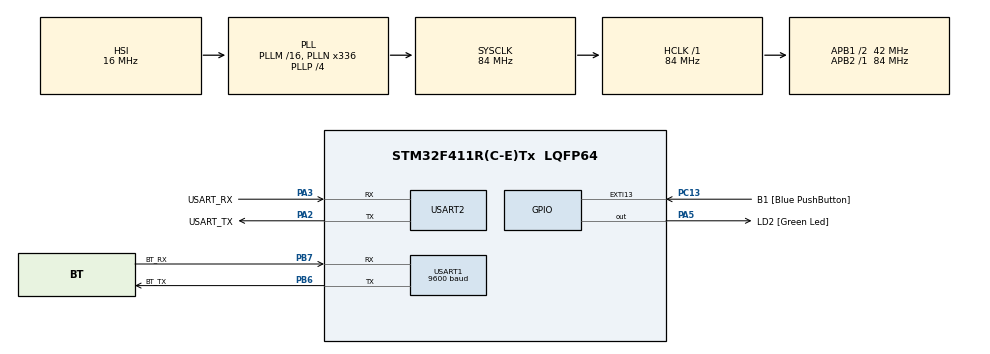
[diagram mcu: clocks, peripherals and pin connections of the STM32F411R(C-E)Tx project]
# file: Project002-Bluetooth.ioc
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Mcu.Family=STM32F4
Mcu.Name=STM32F411R(C-E)Tx
Mcu.Package=LQFP64
NVIC.EXTI15_10_IRQn=true\:0\:0\:false\:false\:true\:true\:true\:true
NVIC.PriorityGroup=NVIC_PRIORITYGROUP_0
NVIC.USART1_IRQn=true\:0\:0\:false\:false\:true\:true\:true\:true
NVIC.USART2_IRQn=true\:0\:0\:false\:false\:true\:true\:true\:true
PA13.GPIO_Label=TMS
PA13.Mode=Serial_Wire
PA13.Signal=SYS_JTMS-SWDIO
PA14.GPIO_Label=TCK
PA14.Mode=Serial_Wire
PA14.Signal=SYS_JTCK-SWCLK
PA2.GPIO_Label=USART_TX
PA2.Mode=Asynchronous
PA2.Signal=USART2_TX
PA3.GPIO_Label=USART_RX
PA3.Mode=Asynchronous
PA3.Signal=USART2_RX
PA5.GPIO_Label=LD2 [Green Led]
PA5.Signal=GPIO_Output
PB3.GPIO_Label=SWO
PB3.Signal=SYS_JTDO-SWO
PB6.GPIO_Label=BT_TX
PB6.Mode=Asynchronous
PB6.Signal=USART1_TX
PB7.GPIO_Label=BT_RX
PB7.Mode=Asynchronous
PB7.Signal=USART1_RX
PC13-ANTI_TAMP.GPIO_Label=B1 [Blue PushButton]
PC13-ANTI_TAMP.GPIO_ModeDefaultEXTI=GPIO_MODE_IT_FALLING
PC13-ANTI_TAMP.Signal=GPXTI13
PC14-OSC32_IN.Mode=LSE-External-Oscillator
PC14-OSC32_IN.Signal=RCC_OSC32_IN
PC15-OSC32_OUT.Mode=LSE-External-Oscillator
PC15-OSC32_OUT.Signal=RCC_OSC32_OUT
PH0\ -\ OSC_IN.Mode=HSE-External-Clock-Source
PH0\ -\ OSC_IN.Signal=RCC_OSC_IN
PH1\ -\ OSC_OUT.Mode=HSE-External-Clock-Source
PH1\ -\ OSC_OUT.Signal=RCC_OSC_OUT
ProjectManager.HeapSize=0x200
ProjectManager.StackSize=0x400
ProjectManager.TargetToolchain=STM32CubeIDE
RCC.48MHZClocksFreq_Value=84000000
RCC.AHBFreq_Value=84000000
RCC.APB1CLKDivider=RCC_HCLK_DIV2
RCC.APB1Freq_Value=42000000
RCC.APB1TimFreq_Value=84000000
RCC.APB2Freq_Value=84000000
RCC.APB2TimFreq_Value=84000000
RCC.CortexFreq_Value=84000000
RCC.FLatency-AdvancedSettings=FLASH_LATENCY_2
RCC.HCLKFreq_Value=84000000
RCC.HSE_VALUE=8000000
RCC.HSI_VALUE=16000000
RCC.PLLN=336
RCC.PLLP=RCC_PLLP_DIV4
RCC.SYSCLKFreq_VALUE=84000000
RCC.SYSCLKSource=RCC_SYSCLKSOURCE_PLLCLK
RCC.VCOOutputFreq_Value=336000000
USART1.BaudRate=9600
USART1.VirtualMode=VM_ASYNC
USART2.VirtualMode=VM_ASYNC
board=NUCLEO-F411RE

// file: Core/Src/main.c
/* USER CODE BEGIN Header */
/**
  ******************************************************************************
  * @file           : main.c
  * @brief          : Main program body
  ******************************************************************************
  * @attention
  *
  * Copyright (c) 2025 STMicroelectronics.
  * All rights reserved.
  *
  * This software is licensed under terms that can be found in the LICENSE file
  * in the root directory of this software component.
  * If no LICENSE file comes with this software, it is provided AS-IS.
  *
  ******************************************************************************
  */
/* USER CODE END Header */
#include "main.h"

/* USER CODE BEGIN Includes */
#include "string.h"
/* USER CODE END Includes */

UART_HandleTypeDef huart1;
UART_HandleTypeDef huart2;

void SystemClock_Config(void);
static void MX_GPIO_Init(void);
static void MX_USART2_UART_Init(void);
static void MX_USART1_UART_Init(void);

/* USER CODE BEGIN 0 */

#define BUF_SIZE 100
char buf1[BUF_SIZE], buf2[BUF_SIZE]; // DMA Buffer
char dum1, dum2;
int head1 = 0, head2 = 0, tail1 = 0, tail2 = 0, temp1 = 0, temp2 = 0, mode = 0; // mode 0: AT command, 1: regularly send AT+INQ and detect entered slave address
int sn; //slave number
char* slave_addr[5] = {"8E4591", "15DA51", "37826F", "A7EF18", "9B0C60"}; // slave address

void HAL_GPIO_EXTI_Callback(uint16_t GPIO_Pin)
{
  switch(GPIO_Pin) {
	  case GPIO_PIN_13:
		  if(mode) {
			  mode = 0;
		  }
		  else {
			  mode = 1;
		  }
		  break;
  }
}

void HAL_UART_RxCpltCallback(UART_HandleTypeDef *huart)
{
   if(huart == &huart1)
   {
      buf1[tail1++] = dum1;
      if(!mode) {
    	  HAL_UART_Transmit(&huart2, &dum1/*== buf1+t1-1*/, 1, 10);      // putty print
      }
      if(dum1 == '\r')
      {
         //CheckCMD(buf1);
    	  if(mode){
			  char comp_buf[BUF_SIZE];
			  if(tail1 > 15) {
				  sprintf(comp_buf, "%s\n\0", &buf1[tail1 - 7]);
				  //printf("%s", comp_buf);
				  //if(!strncmp(comp_buf, "9B0C60", 6)) {
				  if(!strncmp(comp_buf, slave_addr[sn], 6)) {
					  printf("I found it%d\r\n\r\n", temp2++);
				  }
			  }
    	  }

         tail1 = 0;
      }
      HAL_UART_Receive_IT(&huart1, &dum1, 1);         // interrupt chain
   }

   else if(huart == &huart2)
   {
      buf2[tail2++] = dum2;
      HAL_UART_Transmit(&huart2, &dum2, 1, 10); // terminal echo
      if(dum2 == '\r')  // CR : 0x0d
      {
         HAL_UART_Transmit(&huart2, "\n", 1, 10); // terminal echo

         buf2[tail2++] = '\n'; // == HAL_UART_Transmit(&huart1, "\n", 1, 10);
         HAL_UART_Transmit(&huart1, buf2, tail2, 10);   // AT Command
//         HAL_UART_Transmit(&huart1, "\n", 1, 10);
         tail2 = 0;
      }
      HAL_UART_Receive_IT(&huart2, &dum2, 1);
   }
}

/* USER CODE END 0 */

int main(void)
{

  /* MCU Configuration--------------------------------------------------------*/

  /* Reset of all peripherals, Initializes the Flash interface and the Systick. */
  HAL_Init();

  /* Configure the system clock */
  SystemClock_Config();

  /* Initialize all configured peripherals */
  MX_GPIO_Init();
  MX_USART2_UART_Init();
  MX_USART1_UART_Init();
  /* USER CODE BEGIN 2 */
  ProgramStart("Bluetooth Test - Start");
  printf("input slave:");
  scanf("%d", &sn);
  UART_Start_Receive_IT(&huart1, &dum1, 1);
  UART_Start_Receive_IT(&huart2, &dum2, 1);

  /* USER CODE END 2 */

  /* Infinite loop */
  /* USER CODE BEGIN WHILE */
  while (1)
  {
	  if(mode) {
		  printf("%d:\r\n", temp1++);
		  HAL_UART_Transmit(&huart1, "AT+INQ\r\n", 8, 10);
		  HAL_Delay(1500);
	  }
    /* USER CODE END WHILE */

  }
}

void SystemClock_Config(void)
{
  RCC_OscInitTypeDef RCC_OscInitStruct = {0};
  RCC_ClkInitTypeDef RCC_ClkInitStruct = {0};

  /** Configure the main internal regulator output voltage
  */
  __HAL_RCC_PWR_CLK_ENABLE();
  __HAL_PWR_VOLTAGESCALING_CONFIG(PWR_REGULATOR_VOLTAGE_SCALE1);

  /** Initializes the RCC Oscillators according to the specified parameters
  * in the RCC_OscInitTypeDef structure.
  */
  RCC_OscInitStruct.OscillatorType = RCC_OSCILLATORTYPE_HSI;
  RCC_OscInitStruct.HSIState = RCC_HSI_ON;
  RCC_OscInitStruct.HSICalibrationValue = RCC_HSICALIBRATION_DEFAULT;
  RCC_OscInitStruct.PLL.PLLState = RCC_PLL_ON;
  RCC_OscInitStruct.PLL.PLLSource = RCC_PLLSOURCE_HSI;
  RCC_OscInitStruct.PLL.PLLM = 16;
  RCC_OscInitStruct.PLL.PLLN = 336;
  RCC_OscInitStruct.PLL.PLLP = RCC_PLLP_DIV4;
  RCC_OscInitStruct.PLL.PLLQ = 4;
  if (HAL_RCC_OscConfig(&RCC_OscInitStruct) != HAL_OK)
  {
    Error_Handler();
  }

  /** Initializes the CPU, AHB and APB buses clocks
  */
  RCC_ClkInitStruct.ClockType = RCC_CLOCKTYPE_HCLK|RCC_CLOCKTYPE_SYSCLK
                              |RCC_CLOCKTYPE_PCLK1|RCC_CLOCKTYPE_PCLK2;
  RCC_ClkInitStruct.SYSCLKSource = RCC_SYSCLKSOURCE_PLLCLK;
  RCC_ClkInitStruct.AHBCLKDivider = RCC_SYSCLK_DIV1;
  RCC_ClkInitStruct.APB1CLKDivider = RCC_HCLK_DIV2;
  RCC_ClkInitStruct.APB2CLKDivider = RCC_HCLK_DIV1;

  if (HAL_RCC_ClockConfig(&RCC_ClkInitStruct, FLASH_LATENCY_2) != HAL_OK)
  {
    Error_Handler();
  }
}

static void MX_USART1_UART_Init(void)
{

  huart1.Instance = USART1;
  huart1.Init.BaudRate = 9600;
  huart1.Init.WordLength = UART_WORDLENGTH_8B;
  huart1.Init.StopBits = UART_STOPBITS_1;
  huart1.Init.Parity = UART_PARITY_NONE;
  huart1.Init.Mode = UART_MODE_TX_RX;
  huart1.Init.HwFlowCtl = UART_HWCONTROL_NONE;
  huart1.Init.OverSampling = UART_OVERSAMPLING_16;
  if (HAL_UART_Init(&huart1) != HAL_OK)
  {
    Error_Handler();
  }

}

static void MX_USART2_UART_Init(void)
{

  huart2.Instance = USART2;
  huart2.Init.BaudRate = 115200;
  huart2.Init.WordLength = UART_WORDLENGTH_8B;
  huart2.Init.StopBits = UART_STOPBITS_1;
  huart2.Init.Parity = UART_PARITY_NONE;
  huart2.Init.Mode = UART_MODE_TX_RX;
  huart2.Init.HwFlowCtl = UART_HWCONTROL_NONE;
  huart2.Init.OverSampling = UART_OVERSAMPLING_16;
  if (HAL_UART_Init(&huart2) != HAL_OK)
  {
    Error_Handler();
  }

}

static void MX_GPIO_Init(void)
{
  GPIO_InitTypeDef GPIO_InitStruct = {0};

  /* GPIO Ports Clock Enable */
  __HAL_RCC_GPIOC_CLK_ENABLE();
  __HAL_RCC_GPIOH_CLK_ENABLE();
  __HAL_RCC_GPIOA_CLK_ENABLE();
  __HAL_RCC_GPIOB_CLK_ENABLE();

  /*Configure GPIO pin Output Level */
  HAL_GPIO_WritePin(LD2_GPIO_Port, LD2_Pin, GPIO_PIN_RESET);

  /*Configure GPIO pin : B1_Pin */
  GPIO_InitStruct.Pin = B1_Pin;
  GPIO_InitStruct.Mode = GPIO_MODE_IT_FALLING;
  GPIO_InitStruct.Pull = GPIO_NOPULL;
  HAL_GPIO_Init(B1_GPIO_Port, &GPIO_InitStruct);

  /*Configure GPIO pin : LD2_Pin */
  GPIO_InitStruct.Pin = LD2_Pin;
  GPIO_InitStruct.Mode = GPIO_MODE_OUTPUT_PP;
  GPIO_InitStruct.Pull = GPIO_NOPULL;
  GPIO_InitStruct.Speed = GPIO_SPEED_FREQ_LOW;
  HAL_GPIO_Init(LD2_GPIO_Port, &GPIO_InitStruct);

  /* EXTI interrupt init*/
  HAL_NVIC_SetPriority(EXTI15_10_IRQn, 0, 0);
  HAL_NVIC_EnableIRQ(EXTI15_10_IRQn);

}

void Error_Handler(void)
{
  __disable_irq();
  while (1)
  {
  }
}
